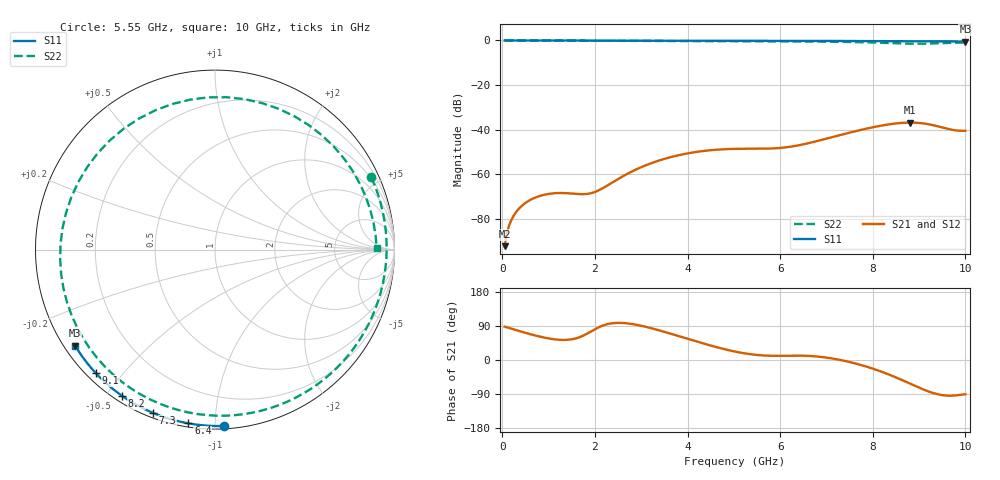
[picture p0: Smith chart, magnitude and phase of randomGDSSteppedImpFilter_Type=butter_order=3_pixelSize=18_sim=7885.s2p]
! freq	dB(S11)	phase(S11)	dB(S12)	phase(S12)
!  dB(S21)	phase(S21)	dB(S22)	phase(S22)
!S-par simulation data
#  GHz  S  DB  R 50
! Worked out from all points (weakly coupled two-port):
!   200 points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, 50 MHz to 10 GHz, reference 50 ohm
!   highest |S21| = -36.88 dB at 8.8 GHz (marker M1); lowest = -92.4 dB at 50 MHz (marker M2)
!   lowest |S11| = -0.5 dB at 10 GHz (marker M3), VSWR 35.52, Z = 1.54 - j15.5 ohm
!   |S11| at or under -10 dB: nowhere
!   |S22| runs from -1.5 to 0.0 dB; largest |S21 - S12| = 0
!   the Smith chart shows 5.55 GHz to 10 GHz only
!   S11 on the Smith chart (normalised r, x): 5.55 GHz: 0.02, -1.05; 6.4 GHz: 0.02, -0.86; 7.3 GHz: 0.02, -0.69; 8.2 GHz: 0.02, -0.55; 9.1 GHz: 0.03, -0.42; 10 GHz: 0.03, -0.31
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0.05  -0.00 -0.9  -92.37 88.1  -92.37 88.1  -0.00 -3.0
0.2  -0.00 -3.4  -80.42 82.5  -80.42 82.5  -0.02 -11.9
0.5  -0.01 -8.4  -72.97 71.7  -72.97 71.7  -0.04 -29.7
1  -0.02 -16.8  -68.90 56.9  -68.90 56.9  -0.07 -59.0
1.75  -0.04 -29.1  -69.02 64.4  -69.02 64.4  -0.13 -102.4
2.65  -0.06 -43.6  -60.44 97.3  -60.44 97.3  -0.19 -154.4
3.4  -0.07 -55.3  -53.81 77.8  -53.81 77.8  -0.23 160.9
4.25  -0.10 -68.2  -49.88 46.9  -49.88 46.9  -0.29 107.6
4.65  -0.11 -74.1  -49.02 33.1  -49.02 33.1  -0.31 81.9
5.05  -0.12 -79.9  -48.67 21.6  -48.67 21.6  -0.33 56.2
5.55  -0.14 -87.0  -48.63 12.7  -48.63 12.7  -0.36 24.8
6.4  -0.18 -98.7  -47.08 11.5  -47.08 11.5  -0.44 -26.3
6.7  -0.20 -102.7  -45.68 10.2  -45.68 10.2  -0.48 -43.9
7.3  -0.24 -110.7  -42.45 0.1  -42.45 0.1  -0.62 -79.9
7.75  -0.27 -116.6  -40.14 -13.3  -40.14 -13.3  -0.80 -109.9
8.2  -0.31 -122.5  -38.18 -31.4  -38.18 -31.4  -1.06 -146.3
8.35  -0.32 -124.4  -37.67 -38.4  -37.67 -38.4  -1.16 -160.7
8.8  -0.36 -130.2  -36.88 -62.1  -36.88 -62.1  -1.44 147.3
9.1  -0.39 -134.0  -37.28 -78.1  -37.28 -78.1  -1.46 106.3
9.35  -0.42 -137.2  -38.26 -88.8  -38.26 -88.8  -1.33 72.1
9.6  -0.44 -140.4  -39.58 -94.0  -39.58 -94.0  -1.15 40.9
10  -0.49 -145.6  -40.55 -90.4  -40.55 -90.4  -0.91 0.6
